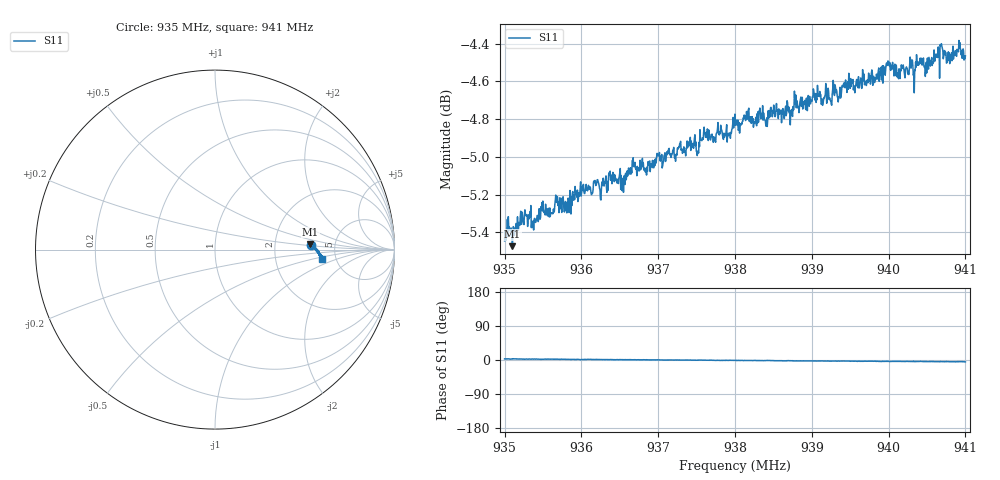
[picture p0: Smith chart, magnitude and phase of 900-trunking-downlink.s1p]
! Calibrated averaged scanner-service zoom
# Hz S RI R 50
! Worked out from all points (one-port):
!   1001 points, 935 MHz to 941 MHz, reference 50 ohm
!   lowest |S11| = -5.5 dB at 935.102 MHz (marker M1), VSWR 3.28, Z = 162 + j14.5 ohm
!   |S11| at or under -10 dB: nowhere
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9.35e8  0.5335 0.0273
9.35102e8  0.5315 0.0321
9.35258e8  0.5424 0.0183
9.35378e8  0.5373 0.023
9.35504e8  0.5446 0.0202
9.3575e8  0.5481 0.0182
9.35996e8  0.5489 0.00952
9.36104e8  0.5511 0.015
9.365e8  0.5569 0.00922
9.3725e8  0.5653 0.00331
9.37508e8  0.5627 -0.00609
9.37616e8  0.5691 -0.00506
9.37928e8  0.5705 -0.00786
9.38e8  0.5771 -0.0118
9.3836e8  0.58 -0.017
9.38438e8  0.5756 -0.0137
9.3854e8  0.5806 -0.0214
9.3875e8  0.5761 -0.0182
9.395e8  0.5854 -0.0336
9.39794e8  0.5865 -0.0335
9.39902e8  0.5927 -0.0395
9.39992e8  0.5952 -0.0367
9.4025e8  0.5903 -0.0371
9.4049e8  0.5942 -0.0434
9.407e8  0.5991 -0.0465
9.40784e8  0.5948 -0.0444
9.40928e8  0.6013 -0.0453
9.41e8  0.5959 -0.0514
